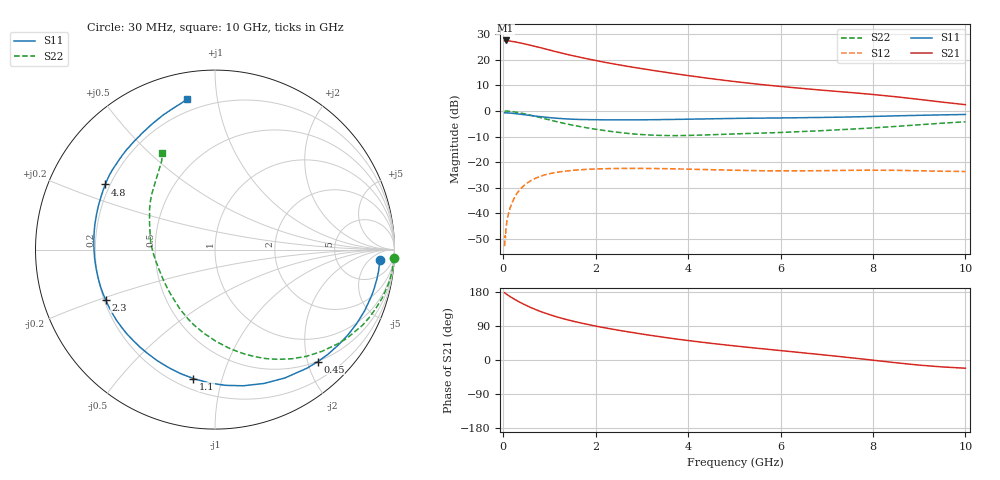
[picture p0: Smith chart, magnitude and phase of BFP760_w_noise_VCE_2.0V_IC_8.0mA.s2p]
! Infineon Technologies  Discrete & RF Semiconductors
! BFP760
! VCE =  2.0 V,  IC =  8.0 mA
! Common Emitter S-Parameters:  Nov 2012
# GHz  S  MA  R  50
!  f  S11  S21  S12  S22
! GHz  MAG  ANG  MAG  ANG  MAG  ANG  MAG  ANG
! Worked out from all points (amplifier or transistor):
!   99 points, 30 MHz to 10 GHz, reference 50 ohm
!   highest |S21| = 27.5 dB at 50 MHz (marker M1)
!   |S21| within 3 dB of that: start of sweep to 844.3 MHz
!   unconditionally stable (mu >= 1): 5.699 GHz to end of sweep
!   at 350 MHz: K = 0.11, MSG = 28.8 dB, |S12| = -30.9 dB
!   at 3.5 GHz: K = 0.61, MSG = 18.8 dB, |S12| = -22.5 dB
!   at 10 GHz: K = 1.23, MAG = 10.2 dB, |S12| = -23.6 dB
!   lowest NFmin = 0.46 dB at 900 MHz
!   S11 on the Smith chart (normalised r, x): 30 MHz: 16, -12; 450 MHz: 0.49, -2.18; 1.1 GHz: 0.26, -0.81; 2.3 GHz: 0.21, -0.21; 4.8 GHz: 0.18, +0.27; 10 GHz: 0.13, +0.82
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0.03  0.9224 -3.5  23.42 177.5  0.0023 86.8  0.9978 -2.6
0.04  0.9226 -4.6  23.46 176.8  0.0037 83.5  0.9976 -3.3
0.05  0.9194 -5.7  23.77 175.3  0.0034 93.5  0.9957 -4.1
0.15  0.9087 -16.8  23.12 167.3  0.0129 81.3  0.9819 -12.2
0.25  0.8908 -27.5  22.34 159.9  0.021 73.9  0.9549 -19.9
0.35  0.8687 -37.7  21.41 153.0  0.0284 68.0  0.9231 -27.2
0.45  0.847 -47.5  20.48 146.8  0.0351 63.3  0.8856 -34.0
0.6  0.8144 -61.4  19.06 138.3  0.0439 55.9  0.8229 -43.5
0.8  0.7748 -78.3  17.24 128.3  0.0529 47.9  0.7443 -54.8
1.1  0.7286 -99.5  14.67 116.0  0.0623 37.7  0.6358 -69.7
1.4  0.6979 -117.2  12.61 105.8  0.0679 30.3  0.5526 -82.2
1.7  0.6811 -132.1  10.99 97.2  0.0715 24.6  0.4879 -93.5
2  0.6753 -144.6  9.682 89.6  0.0739 19.6  0.4407 -104.4
2.3  0.6706 -155.4  8.574 82.7  0.0751 15.6  0.4022 -114.5
2.8  0.6706 -170.8  7.159 72.4  0.0757 10.3  0.3578 -130.6
3.4  0.6783 173.9  5.886 61.3  0.0751 5.4  0.3336 -149.5
4.1  0.6938 159.6  4.776 49.8  0.0728 1.6  0.3352 -168.2
4.8  0.7107 149.3  3.948 39.9  0.0704 -0.5  0.3511 178.7
5.1  0.7177 145.8  3.669 36.0  0.0695 -0.9  0.359 174.2
6.7  0.7443 130.9  2.639 16.4  0.0683 -0.9  0.4052 154.3
8.5  0.8035 111.1  1.892 -7.3  0.0694 -4.4  0.4995 132.0
10  0.8542 100.4  1.327 -21.7  0.066 -4.2  0.6149 118.6
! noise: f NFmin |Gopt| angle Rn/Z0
0.9  0.46  0.29  26  0.1
1.8  0.52  0.23  54  0.09
2.4  0.57  0.18  81  0.09
3.5  0.75  0.16  119  0.08
5.5  0.95  0.3  -146  0.08
8  1.43  0.42  -98  0.24
